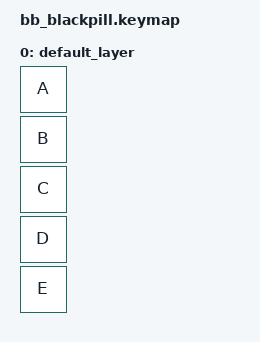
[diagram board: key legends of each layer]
/*
 * Copyright (c) 2022 The ZMK Contributors
 *
 * SPDX-License-Identifier: MIT
 */

#include <behaviors.dtsi>
#include <dt-bindings/zmk/keys.h>

/ {
    keymap {
        compatible = "zmk,keymap";

        default_layer {
            bindings = <
                // Blackpill onboard user key button
                &kp A

                // Switches connected directly to gpio pins
                &kp B
                &kp C
                &kp D
                &kp E
            >;
        };
    };
};
